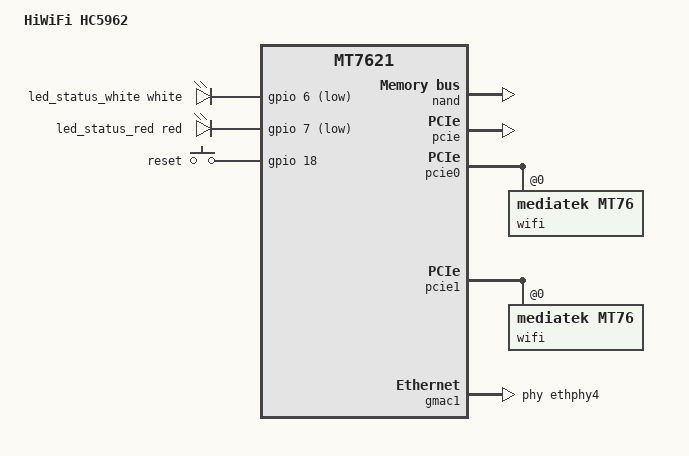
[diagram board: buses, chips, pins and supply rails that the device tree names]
#include "mt7621.dtsi"

#include <dt-bindings/gpio/gpio.h>
#include <dt-bindings/input/input.h>
#include <dt-bindings/leds/common.h>

/ {
	compatible = "hiwifi,hc5962", "mediatek,mt7621-soc";
	model = "HiWiFi HC5962";

	aliases {
		label-mac-device = &gmac0;
		led-boot = &led_status_red;
		led-failsafe = &led_status_red;
		led-running = &led_status_white;
		led-upgrade = &led_status_white;
	};

	chosen {
		bootargs = "console=ttyS0,115200";
	};

	leds {
		compatible = "gpio-leds";

		led_status_white: led-0 {
			color = <LED_COLOR_ID_WHITE>;
			function = LED_FUNCTION_STATUS;
			gpios = <&gpio 6 GPIO_ACTIVE_LOW>;
		};

		led_status_red: led-1 {
			color = <LED_COLOR_ID_RED>;
			function = LED_FUNCTION_STATUS;
			gpios = <&gpio 7 GPIO_ACTIVE_LOW>;
			panic-indicator;
		};
	};

	keys {
		compatible = "gpio-keys";

		reset {
			label = "reset";
			gpios = <&gpio 18 GPIO_ACTIVE_HIGH>;
			linux,code = <KEY_RESTART>;
		};
	};

	ubi-concat {
		compatible = "mtd-concat";
		devices = <&ubiconcat0 &ubiconcat1>;

		partitions {
			compatible = "fixed-partitions";
			#address-cells = <1>;
			#size-cells = <1>;

			partition@0 {
				label = "ubi";
				reg = <0x0 0x79c0000>;
			};
		};
	};
};

&nand {
	status = "okay";

	partitions {
		compatible = "fixed-partitions";
		#address-cells = <1>;
		#size-cells = <1>;

		partition@0 {
			label = "u-boot";
			reg = <0x0 0x80000>;
			read-only;
		};

		partition@80000 {
			label = "debug";
			reg = <0x80000 0x80000>;
			read-only;
		};

		partition@100000 {
			label = "factory";
			reg = <0x100000 0x40000>;
			read-only;

			nvmem-layout {
				compatible = "fixed-layout";
				#address-cells = <1>;
				#size-cells = <1>;

				eeprom_factory_0: eeprom@0 {
					reg = <0x0 0x400>;
				};

				eeprom_factory_8000: eeprom@8000 {
					reg = <0x8000 0x200>;
				};
			};
		};

		partition@140000 {
			label = "kernel";
			reg = <0x140000 0x400000>;
		};

		ubiconcat0: partition@540000 {
			label = "ubiconcat0";
			reg = <0x540000 0x1c80000>;
		};

		partition@21c0000 {
			label = "bdinfo";
			reg = <0x21c0000 0x80000>;
			read-only;

			nvmem-layout {
				compatible = "fixed-layout";
				#address-cells = <1>;
				#size-cells = <1>;

				macaddr_bdinfo_18a: macaddr@18a {
					compatible = "mac-base";
					reg = <0x18a 0x11>;
					#nvmem-cell-cells = <1>;
				};
			};
		};

		ubiconcat1: partition@2240000 {
			label = "ubiconcat1";
			reg = <0x2240000 0x5d40000>;
		};
	};
};

&pcie {
	status = "okay";
};

&pcie0 {
	wifi@0,0 {
		compatible = "mediatek,mt76";
		reg = <0x0000 0 0 0 0>;
		nvmem-cells = <&eeprom_factory_0>, <&macaddr_bdinfo_18a 0>;
		nvmem-cell-names = "eeprom", "mac-address";
		ieee80211-freq-limit = <2400000 2500000>;
	};
};

&pcie1 {
	wifi@0,0 {
		compatible = "mediatek,mt76";
		reg = <0x0000 0 0 0 0>;
		nvmem-cells = <&eeprom_factory_8000>, <&macaddr_bdinfo_18a 0>;
		nvmem-cell-names = "eeprom", "mac-address";
		ieee80211-freq-limit = <5000000 6000000>;
	};
};

&gmac0 {
	nvmem-cells = <&macaddr_bdinfo_18a 0>;
	nvmem-cell-names = "mac-address";
};

&gmac1 {
	status = "okay";
	label = "wan";
	phy-handle = <&ethphy4>;

	nvmem-cells = <&macaddr_bdinfo_18a 1>;
	nvmem-cell-names = "mac-address";
};

&ethphy4 {
	/delete-property/ interrupts;
};

&switch0 {
	ports {
		port@1 {
			status = "okay";
			label = "lan1";
		};

		port@2 {
			status = "okay";
			label = "lan2";
		};

		port@3 {
			status = "okay";
			label = "lan3";
		};
	};
};

&state_default {
	gpio {
		groups = "uart3", "jtag";
		function = "gpio";
	};
};
